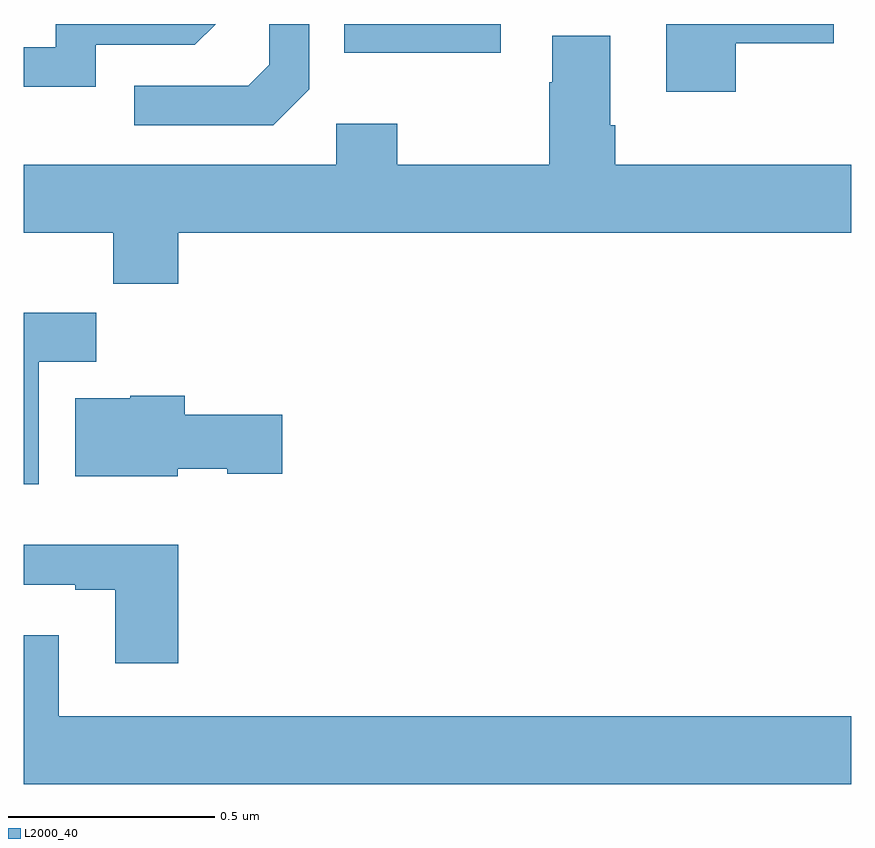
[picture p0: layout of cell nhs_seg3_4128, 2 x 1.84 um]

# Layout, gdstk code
import gdstk
lib = gdstk.Library(unit=1e-6, precision=1e-09)
def R(c, l, rs):  # rectangles x0, y0, x1, y1
    for r in rs: c.add(gdstk.rectangle(r[:2], r[2:], *l))
def P(c, l, *ps):  # polygons
    for p in ps: c.add(gdstk.Polygon(p, *l))
L2000_40 = (2000, 40)

nhs_seg3_4128 = lib.new_cell('nhs_seg3_4128')
R(nhs_seg3_4128, L2000_40, [(162.775,721.331,163.153,721.4)])
P(nhs_seg3_4128, L2000_40, [(163.721,721.354),(163.957,721.354),(163.957,721.4),(163.553,721.4),(163.553,721.236),(163.721,721.236)],
  [(162.69,721.242),(162.69,721.4),(162.594,721.4),(162.594,721.302),(162.543,721.251),(162.267,721.251),(162.267,721.155),(162.603,721.155)],
  [(162.174,721.35),(162.414,721.35),(162.464,721.4),(162.078,721.4),(162.078,721.344),(162,721.344),(162,721.248),(162.174,721.248)],
  [(162.374,720.896),(164,720.896),(164,721.06),(163.43,721.06),(163.43,721.156),(163.417,721.156),(163.417,721.372),(163.277,721.372),(163.277,721.259),(163.27,721.259),(163.27,721.06),(162.903,721.06),(162.903,721.159),(162.756,721.159),(162.756,721.06),(162,721.06),(162,720.896),(162.217,720.896),(162.217,720.772),(162.374,720.772)],
  [(162.037,720.584),(162.176,720.584),(162.176,720.703),(162,720.703),(162,720.288),(162.037,720.288)],
  [(162.372,720.326),(162.492,720.326),(162.492,720.314),(162.625,720.314),(162.625,720.456),(162.389,720.456),(162.389,720.502),(162.258,720.502),(162.258,720.496),(162.125,720.496),(162.125,720.308),(162.372,720.308)],
  [(162.374,720.142),(162,720.142),(162,720.045),(162.125,720.045),(162.125,720.033),(162.221,720.033),(162.221,719.856),(162.374,719.856)],
  [(164,719.728),(162.085,719.728),(162.085,719.923),(162,719.923),(162,719.564),(164,719.564)])

lib.write_gds('nhs_seg3_4128.gds')
